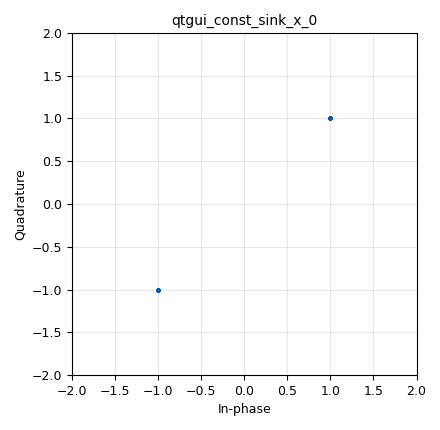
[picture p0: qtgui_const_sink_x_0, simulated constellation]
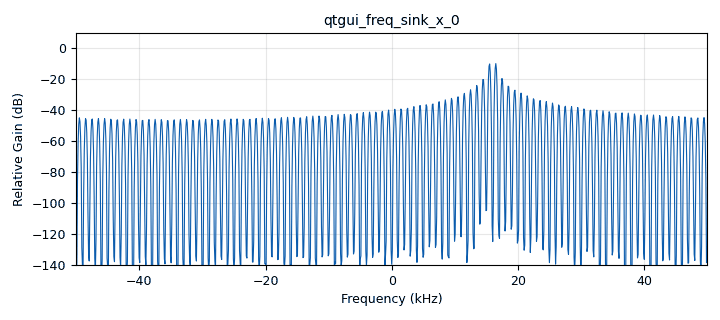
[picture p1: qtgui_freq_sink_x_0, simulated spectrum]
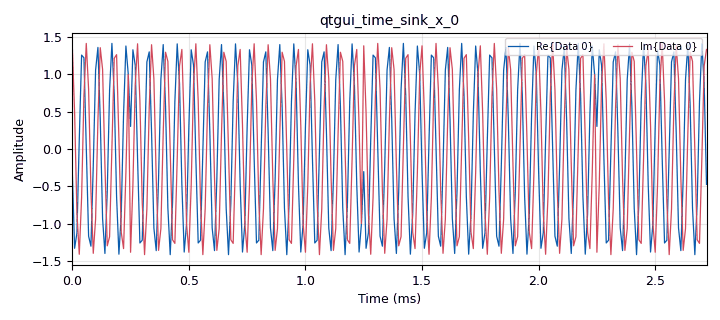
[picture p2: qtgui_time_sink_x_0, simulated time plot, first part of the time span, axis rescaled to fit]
<?xml version='1.0' encoding='utf-8'?>
<?grc format='1' created='3.7.13'?>
<flow_graph>
<block>
<key>options</key>
<param><key>id</key><value>BPSK_TXRX_COMPLEX</value></param>
<param><key>author</key><value>ELEC350</value></param>
<param><key>category</key><value>Custom</value></param>
<param><key>generate_options</key><value>qt_gui</value></param>
<param><key>title</key><value>Complex BPSK Transmitter/Receiver</value></param>
</block>
<block>
<key>variable_qtgui_range</key>
<param><key>id</key><value>offset</value></param>
<param><key>value</key><value>0</value></param>
<param><key>label</key><value>Frequency Offset</value></param>
<param><key>orient</key><value>Qt.Horizontal</value></param>
<param><key>start</key><value>-2</value></param>
<param><key>step</key><value>.025</value></param>
<param><key>stop</key><value>2</value></param>
</block>
<block>
<key>variable</key>
<param><key>id</key><value>samp_rate</value></param>
<param><key>value</key><value>100000</value></param>
</block>
<block>
<key>analog_sig_source_x</key>
<param><key>id</key><value>analog_sig_source_x_0</value></param>
<param><key>amp</key><value>1</value></param>
<param><key>freq</key><value>16000+offset</value></param>
<param><key>offset</key><value>0</value></param>
<param><key>type</key><value>complex</value></param>
<param><key>samp_rate</key><value>samp_rate</value></param>
<param><key>waveform</key><value>analog.GR_COS_WAVE</value></param>
</block>
<block>
<key>analog_sig_source_x</key>
<param><key>id</key><value>analog_sig_source_x_1</value></param>
<param><key>amp</key><value>2</value></param>
<param><key>freq</key><value>500</value></param>
<param><key>offset</key><value>-1</value></param>
<param><key>type</key><value>float</value></param>
<param><key>samp_rate</key><value>samp_rate</value></param>
<param><key>waveform</key><value>analog.GR_SQR_WAVE</value></param>
</block>
<block>
<key>analog_sig_source_x</key>
<param><key>id</key><value>analog_sig_source_x_2</value></param>
<param><key>amp</key><value>1</value></param>
<param><key>freq</key><value>-16000</value></param>
<param><key>offset</key><value>0</value></param>
<param><key>type</key><value>complex</value></param>
<param><key>samp_rate</key><value>samp_rate</value></param>
<param><key>waveform</key><value>analog.GR_COS_WAVE</value></param>
</block>
<block>
<key>blocks_float_to_complex</key>
<param><key>id</key><value>blocks_float_to_complex_0</value></param>
</block>
<block>
<key>blocks_multiply_xx</key>
<param><key>id</key><value>blocks_multiply_xx_0</value></param>
<param><key>type</key><value>complex</value></param>
</block>
<block>
<key>blocks_multiply_xx</key>
<param><key>id</key><value>blocks_multiply_xx_1</value></param>
<param><key>type</key><value>complex</value></param>
</block>
<block>
<key>blocks_throttle</key>
<param><key>id</key><value>blocks_throttle_0</value></param>
<param><key>samples_per_second</key><value>samp_rate</value></param>
<param><key>type</key><value>complex</value></param>
</block>
<block>
<key>note</key>
<param><key>id</key><value>note_0</value></param>
<param><key>note</key><value>Transmitter</value></param>
</block>
<block>
<key>note</key>
<param><key>id</key><value>note_1</value></param>
<param><key>note</key><value>Receiver</value></param>
</block>
<block>
<key>qtgui_const_sink_x</key>
<param><key>id</key><value>qtgui_const_sink_x_0</value></param>
<param><key>gui_hint</key><value>tabs@2</value></param>
<param><key>size</key><value>1024</value></param>
<param><key>type</key><value>complex</value></param>
</block>
<block>
<key>qtgui_freq_sink_x</key>
<param><key>id</key><value>qtgui_freq_sink_x_0</value></param>
<param><key>bw</key><value>samp_rate</value></param>
<param><key>fc</key><value>0</value></param>
<param><key>fftsize</key><value>1024</value></param>
<param><key>gui_hint</key><value>tabs@1</value></param>
<param><key>showports</key><value>True</value></param>
<param><key>type</key><value>complex</value></param>
<param><key>wintype</key><value>firdes.WIN_BLACKMAN_hARRIS</value></param>
</block>
<block>
<key>qtgui_time_sink_x</key>
<param><key>id</key><value>qtgui_time_sink_x_0</value></param>
<param><key>gui_hint</key><value>tabs@0</value></param>
<param><key>color1</key><value>"blue"</value></param>
<param><key>label1</key><value></value></param>
<param><key>color2</key><value>"red"</value></param>
<param><key>label2</key><value></value></param>
<param><key>size</key><value>1024</value></param>
<param><key>srate</key><value>samp_rate</value></param>
<param><key>type</key><value>complex</value></param>
</block>
<block>
<key>qtgui_tab_widget</key>
<param><key>id</key><value>tabs</value></param>
<param><key>label0</key><value>Transmitted Waveform</value></param>
<param><key>label1</key><value>Transmitted Spectrum</value></param>
<param><key>label2</key><value>Received Constellation</value></param>
<param><key>num_tabs</key><value>3</value></param>
</block>
<block>
<key>virtual_sink</key>
<param><key>id</key><value>virtual_sink_0</value></param>
<param><key>stream_id</key><value>channel</value></param>
</block>
<block>
<key>virtual_source</key>
<param><key>id</key><value>virtual_source_0</value></param>
<param><key>stream_id</key><value>channel</value></param>
</block>
<connection><source_block_id>analog_sig_source_x_0</source_block_id><sink_block_id>blocks_throttle_0</sink_block_id><source_key>0</source_key><sink_key>0</sink_key></connection>
<connection><source_block_id>analog_sig_source_x_1</source_block_id><sink_block_id>blocks_float_to_complex_0</sink_block_id><source_key>0</source_key><sink_key>1</sink_key></connection>
<connection><source_block_id>analog_sig_source_x_1</source_block_id><sink_block_id>blocks_float_to_complex_0</sink_block_id><source_key>0</source_key><sink_key>0</sink_key></connection>
<connection><source_block_id>analog_sig_source_x_2</source_block_id><sink_block_id>blocks_multiply_xx_1</sink_block_id><source_key>0</source_key><sink_key>1</sink_key></connection>
<connection><source_block_id>blocks_float_to_complex_0</source_block_id><sink_block_id>blocks_multiply_xx_0</sink_block_id><source_key>0</source_key><sink_key>1</sink_key></connection>
<connection><source_block_id>blocks_multiply_xx_0</source_block_id><sink_block_id>qtgui_freq_sink_x_0</sink_block_id><source_key>0</source_key><sink_key>0</sink_key></connection>
<connection><source_block_id>blocks_multiply_xx_0</source_block_id><sink_block_id>qtgui_time_sink_x_0</sink_block_id><source_key>0</source_key><sink_key>0</sink_key></connection>
<connection><source_block_id>blocks_multiply_xx_0</source_block_id><sink_block_id>virtual_sink_0</sink_block_id><source_key>0</source_key><sink_key>0</sink_key></connection>
<connection><source_block_id>blocks_multiply_xx_1</source_block_id><sink_block_id>qtgui_const_sink_x_0</sink_block_id><source_key>0</source_key><sink_key>0</sink_key></connection>
<connection><source_block_id>blocks_throttle_0</source_block_id><sink_block_id>blocks_multiply_xx_0</sink_block_id><source_key>0</source_key><sink_key>0</sink_key></connection>
<connection><source_block_id>virtual_source_0</source_block_id><sink_block_id>blocks_multiply_xx_1</sink_block_id><source_key>0</source_key><sink_key>0</sink_key></connection>
</flow_graph>
